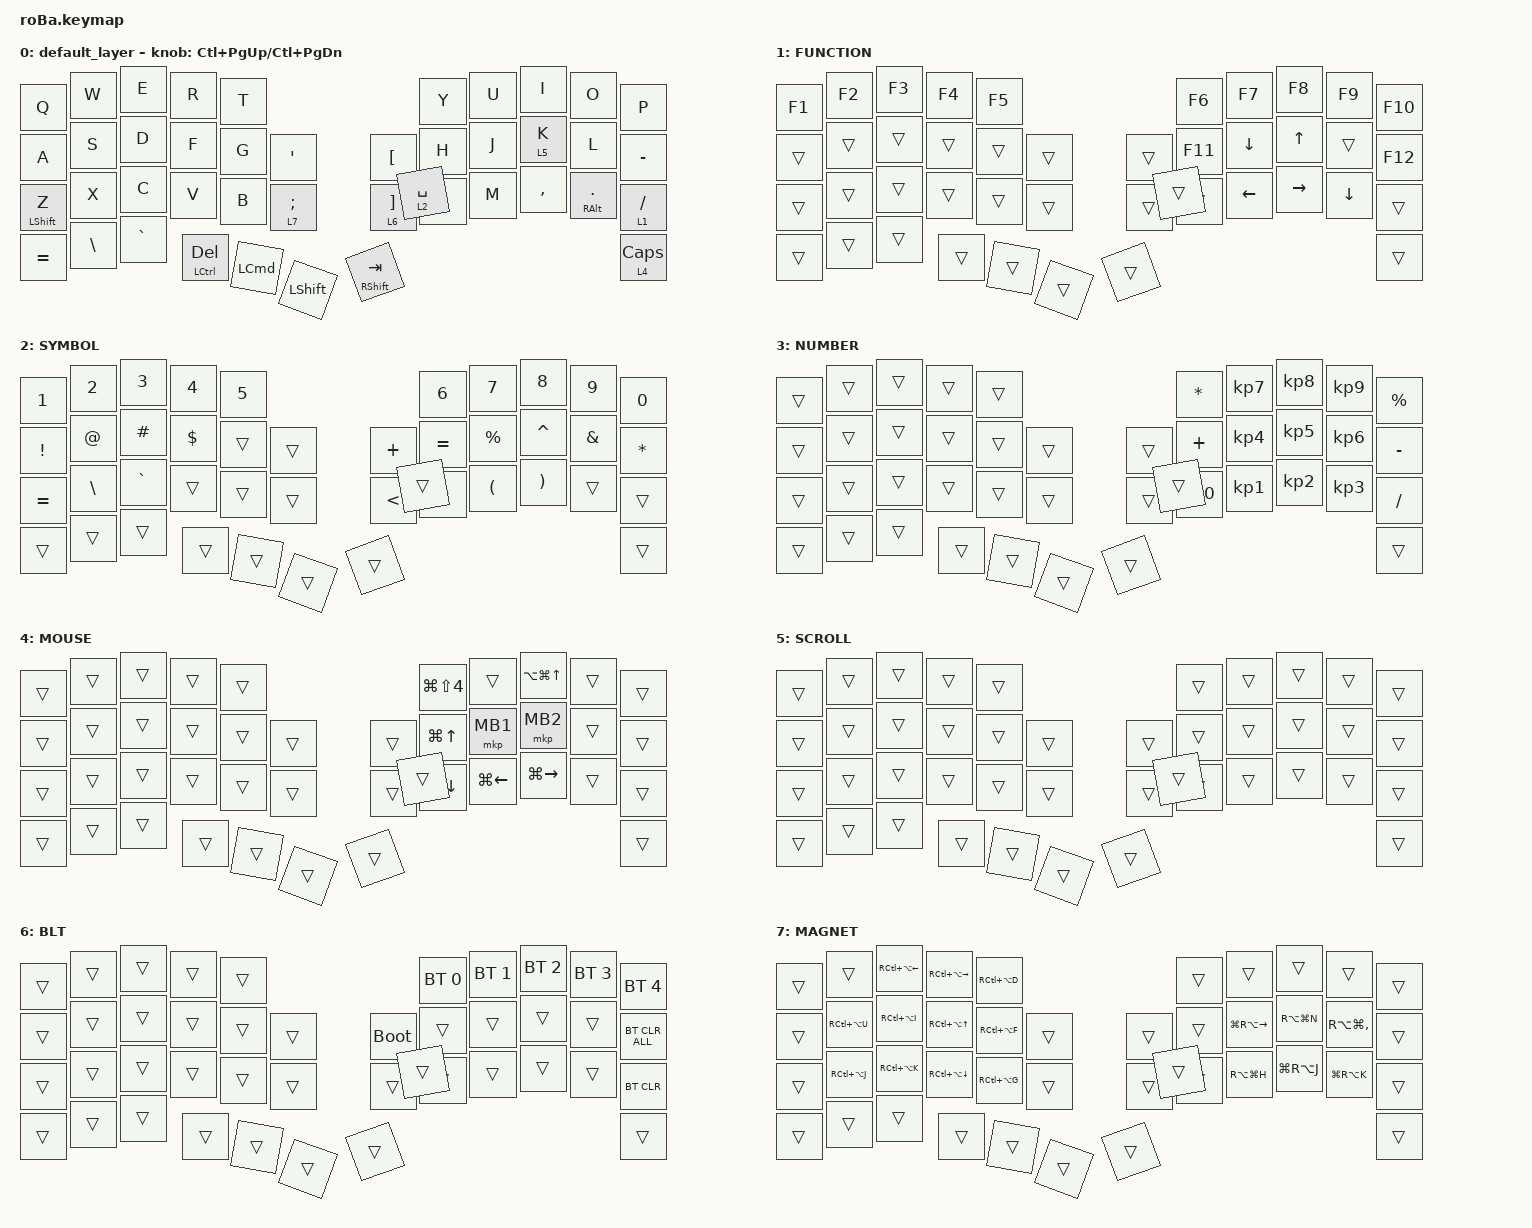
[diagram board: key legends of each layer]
#include <behaviors.dtsi>
#include <dt-bindings/zmk/bt.h>
#include <dt-bindings/zmk/keys.h>
#include <dt-bindings/zmk/pointing.h>

&mt {
    flavor = "tap-preferred";
    tapping-term-ms = <200>;
    quick-tap-ms = <150>;
    require-prior-idle-ms = <30>;
};

&trackball {
    snipe-layers = <4>;
    scroll-layers = <5>;

    // arrows {
    //     layers = <3>;
    //     bindings =
    //         <&kp RIGHT_ARROW>,
    //         <&kp LEFT_ARROW>,
    //         <&kp UP_ARROW>,
    //         <&kp DOWN_ARROW>;
    //     tick = <10>;
    //     wait-ms = <5>;
    //     tap-ms = <5>;
    // };
};

/ {
    combos {
        compatible = "zmk,combos";

        escape {
            timeout-ms = <25>;
            bindings = <&kp ESCAPE>;
            key-positions = <1 2>; // W + E
            require-prior-idle-ms = <150>;
            layers = <0>;
        };

        tab {
            timeout-ms = <30>;
            bindings = <&kp TAB>;
            key-positions = <11 12>; // S + D
            require-prior-idle-ms = <100>;
            layers = <0>;
        };

        undo {
            timeout-ms = <30>;
            bindings = <&kp LG(Z)>;
            key-positions = <13 14>; // F + G
            require-prior-idle-ms = <100>;
            layers = <0>;
        };

        redo {
            timeout-ms = <30>;
            bindings = <&kp LG(LS(Z))>;
            key-positions = <25 26>; // V + B
            require-prior-idle-ms = <100>;
            layers = <0>;
        };

        command-alt-right_arrow {
            timeout-ms = <30>;
            bindings = <&kp LG(LA(RIGHT_ARROW))>;
            key-positions = <24 25>; // C + V
            require-prior-idle-ms = <100>;
            layers = <0>;
        };

        command-alt-left_arrow {
            timeout-ms = <30>;
            bindings = <&kp LG(LA(LEFT_ARROW))>;
            key-positions = <23 24>; // X + C
            require-prior-idle-ms = <100>;
            layers = <0>;
        };

        space {
            timeout-ms = <25>;
            bindings = <&kp SPACE>;
            key-positions = <7 8>; // I + O
            require-prior-idle-ms = <150>;
            layers = <0>;
        };

        enter {
            timeout-ms = <30>;
            bindings = <&kp ENTER>;
            key-positions = <19 20>; // K + L
            require-prior-idle-ms = <100>;
            layers = <0>;
        };

        backspace {
            timeout-ms = <30>;
            bindings = <&kp BACKSPACE>;
            key-positions = <31 32>; // , + .
            require-prior-idle-ms = <80>;
            layers = <0>;
        };

        HENKAN {
            timeout-ms = <30>;
            bindings = <&kp LANG1>;
            key-positions = <18 19>; // J + K
            require-prior-idle-ms = <100>;
            layers = <0>;
        };

        EISU {
            timeout-ms = <30>;
            bindings = <&kp LANG2>;
            key-positions = <30 31>; // M + ,
            require-prior-idle-ms = <80>;
            layers = <0>;
        };
    };

    behaviors {
        td_lang_toggle: td_lang_toggle {
            compatible = "zmk,behavior-tap-dance";
            #binding-cells = <0>;
            bindings = <&kp J>, <&kp LANGUAGE_2>;

            tapping-term-ms = <200>;
        };
    };

    keymap {
        compatible = "zmk,keymap";

        default_layer {
            bindings = <
&kp Q             &kp W          &kp E      &kp R             &kp T                                                        &kp Y        &kp U  &kp I      &kp O                 &kp P
&kp A             &kp S          &kp D      &kp F             &kp G             &kp SINGLE_QUOTE      &kp LEFT_BRACKET     &kp H        &kp J  &lt 5 K    &kp L                 &kp MINUS
&mt LEFT_SHIFT Z  &kp X          &kp C      &kp V             &kp B             &lt 7 SEMICOLON       &lt 6 RIGHT_BRACKET  &kp N        &kp M  &kp COMMA  &mt RIGHT_ALT PERIOD  &lt 1 SLASH
&kp EQUAL         &kp BACKSLASH  &kp GRAVE  &mt LCTRL DELETE  &kp LEFT_COMMAND  &kp LEFT_SHIFT        &mt RIGHT_SHIFT TAB  &lt 2 SPACE                                          &lt 4 CAPS
            >;

            sensor-bindings = <&inc_dec_kp LC(PAGE_UP) LC(PAGE_DOWN)>;
        };

        FUNCTION {
            bindings = <
&kp F1  &kp F2  &kp F3  &kp F4  &kp F5                      &kp F6   &kp F7          &kp F8           &kp F9          &kp F10
&trans  &trans  &trans  &trans  &trans  &trans      &trans  &kp F11  &kp DOWN_ARROW  &kp UP_ARROW     &trans          &kp F12
&trans  &trans  &trans  &trans  &trans  &trans      &trans  &trans   &kp LEFT_ARROW  &kp RIGHT_ARROW  &kp DOWN_ARROW  &trans
&trans  &trans  &trans  &trans  &trans  &trans      &trans  &trans                                                    &trans
            >;
        };

        SYMBOL {
            bindings = <
&kp NUMBER_1     &kp NUMBER_2   &kp NUMBER_3  &kp NUMBER_4  &kp N5                             &kp NUMBER_6      &kp N7                &kp N8                 &kp N9         &kp N0
&kp EXCLAMATION  &kp AT_SIGN    &kp HASH      &kp DOLLAR    &trans  &trans      &kp PLUS       &kp EQUAL         &kp PERCENT           &kp CARET              &kp AMPERSAND  &kp ASTERISK
&kp EQUAL        &kp BACKSLASH  &kp GRAVE     &trans        &trans  &trans      &kp LESS_THAN  &kp GREATER_THAN  &kp LEFT_PARENTHESIS  &kp RIGHT_PARENTHESIS  &trans         &trans
&trans           &trans         &trans        &trans        &trans  &trans      &trans         &trans                                                                        &trans
            >;
        };

        NUMBER {
            bindings = <
&trans  &trans  &trans  &trans  &trans                      &kp ASTERISK     &kp KP_NUMBER_7  &kp KP_NUMBER_8  &kp KP_NUMBER_9  &kp PERCENT
&trans  &trans  &trans  &trans  &trans  &trans      &trans  &kp PLUS         &kp KP_NUMBER_4  &kp KP_NUMBER_5  &kp KP_NUMBER_6  &kp MINUS
&trans  &trans  &trans  &trans  &trans  &trans      &trans  &kp KP_NUMBER_0  &kp KP_NUMBER_1  &kp KP_NUMBER_2  &kp KP_NUMBER_3  &kp SLASH
&trans  &trans  &trans  &trans  &trans  &trans      &trans  &trans                                                              &trans
            >;
        };

        MOUSE {
            bindings = <
&trans  &trans  &trans  &trans  &trans                      &kp LG(LS(NUMBER_4))  &trans              &kp LA(LG(UP_ARROW))  &trans  &trans
&trans  &trans  &trans  &trans  &trans  &trans      &trans  &kp LG(UP_ARROW)      &mkp MB1            &mkp MB2              &trans  &trans
&trans  &trans  &trans  &trans  &trans  &trans      &trans  &kp LG(DOWN_ARROW)    &kp LG(LEFT_ARROW)  &kp LG(RIGHT_ARROW)   &trans  &trans
&trans  &trans  &trans  &trans  &trans  &trans      &trans  &trans                                                                  &trans
            >;
        };

        SCROLL {
            bindings = <
&trans  &trans  &trans  &trans  &trans                      &trans  &trans  &trans  &trans  &trans
&trans  &trans  &trans  &trans  &trans  &trans      &trans  &trans  &trans  &trans  &trans  &trans
&trans  &trans  &trans  &trans  &trans  &trans      &trans  &trans  &trans  &trans  &trans  &trans
&trans  &trans  &trans  &trans  &trans  &trans      &trans  &trans                          &trans
            >;
        };

        BLT {
            bindings = <
&trans  &trans  &trans  &trans  &trans                           &bt BT_SEL 0  &bt BT_SEL 1  &bt BT_SEL 2  &bt BT_SEL 3  &bt BT_SEL 4
&trans  &trans  &trans  &trans  &trans  &trans      &bootloader  &trans        &trans        &trans        &trans        &bt BT_CLR_ALL
&trans  &trans  &trans  &trans  &trans  &trans      &trans       &trans        &trans        &trans        &trans        &bt BT_CLR
&trans  &trans  &trans  &trans  &trans  &trans      &trans       &trans                                                  &trans
            >;
        };

        MAGNET {
            bindings = <
&trans  &trans         &kp RC(LA(LEFT_ARROW))  &kp RC(LA(RIGHT_ARROW))  &kp RC(LA(D))                      &trans  &trans                   &trans         &trans             &trans
&trans  &kp RC(LA(U))  &kp RC(LA(I))           &kp RC(LA(UP_ARROW))     &kp RC(LA(F))  &trans      &trans  &trans  &kp LG(RA(RIGHT_ARROW))  &kp RA(LG(N))  &kp RA(LG(COMMA))  &trans
&trans  &kp RC(LA(J))  &kp RC(LA(K))           &kp RC(LA(DOWN_ARROW))   &kp RC(LA(G))  &trans      &trans  &trans  &kp RA(LG(H))            &kp LG(RA(J))  &kp LG(RA(K))      &trans
&trans  &trans         &trans                  &trans                   &trans         &trans      &trans  &trans                                                             &trans
            >;
        };
    };
};
